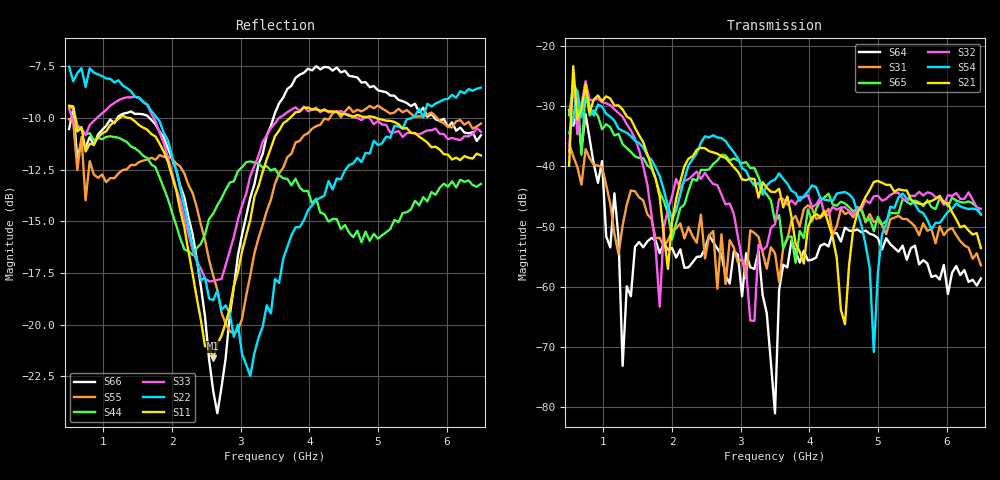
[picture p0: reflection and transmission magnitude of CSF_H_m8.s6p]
!Keysight Technologies,M9804A,MY58100912,A.14.10.03
!Date: Thursday, April 27, 2023 10:28:33
!Correction: S11(C  6-Port  )
!S12(C  6-Port  )
!S13(C  6-Port  )
!S14(C  6-Port  )
!S15(C  6-Port  )
!S16(C  6-Port  )
!S21(C  6-Port  )
!S22(C  6-Port  )
!S23(C  6-Port  )
!S24(C  6-Port  )
!S25(C  6-Port  )
!S26(C  6-Port  )
!S31(C  6-Port  )
!S32(C  6-Port  )
!S33(C  6-Port  )
!S34(C  6-Port  )
!S35(C  6-Port  )
!S36(C  6-Port  )
!S41(C  6-Port  )
!S42(C  6-Port  )
!S43(C  6-Port  )
!S44(C  6-Port  )
!S45(C  6-Port  )
!S46(C  6-Port  )
!S51(C  6-Port  )
!S52(C  6-Port  )
!S53(C  6-Port  )
!S54(C  6-Port  )
!S55(C  6-Port  )
!S56(C  6-Port  )
!S61(C  6-Port  )
!S62(C  6-Port  )
!S63(C  6-Port  )
!S64(C  6-Port  )
!S65(C  6-Port  )
!S66(C  6-Port  )
!S6P File: Measurement: :
# Hz S  RI  R 50
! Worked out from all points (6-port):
!   101 points, 500 MHz to 6.5 GHz, reference 50 ohm
!   strongest paths, dB at 500 MHz, 2 GHz, 3.5 GHz, 5 GHz, 6.5 GHz:
!     S21: -39.9, -49.2, -44.3, -42.4, -53.6
!     S54: -34.5, -48.7, -42.2, -57.5, -47.9
!     S32: -37.5, -45.0, -49.6, -44.9, -47.0
!     S65: -31.5, -52.1, -49.1, -48.4, -48.0
!     S31: -36.3, -50.7, -54.4, -49.0, -56.4
!     S64: -30.7, -53.6, -81.0, -51.9, -58.6
!   lowest |S11| = -21.6 dB at 2.6 GHz (marker M1), VSWR 1.18, Z = 42.6 + j2.03 ohm
!   |S11| at or under -10 dB: 587.8 MHz to 1.235 GHz (646.8 MHz wide, 71 % of centre); 1.377 GHz to 3.716 GHz (2.339 GHz wide, 91.9 % of centre); 4.974 GHz to end of sweep
